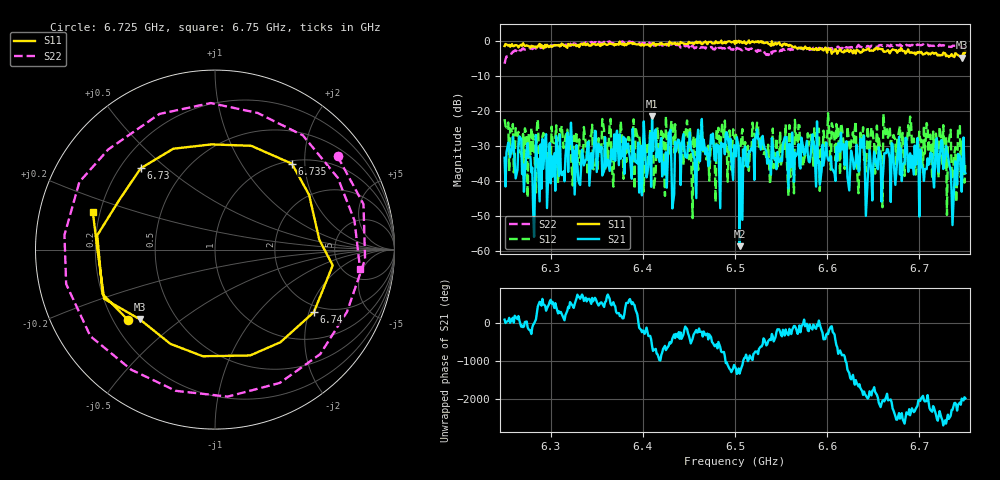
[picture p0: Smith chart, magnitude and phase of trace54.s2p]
# Hz S RI R 50
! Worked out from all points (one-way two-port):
!   401 points, 6.25 GHz to 6.75 GHz, reference 50 ohm
!   highest |S21| = -21.65 dB at 6.41 GHz (marker M1); lowest = -58.7 dB at 6.505 GHz (marker M2)
!   lowest |S11| = -4.9 dB at 6.746 GHz (marker M3), VSWR 3.67, Z = 15.5 - j17.9 ohm
!   |S11| at or under -10 dB: nowhere
!   |S22| runs from -6.6 to -0.1 dB; largest |S21 - S12| = 0.11
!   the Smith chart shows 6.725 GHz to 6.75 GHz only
!   S11 on the Smith chart (normalised r, x): 6.725 GHz: 0.26, -0.33; 6.73 GHz: 0.28, +0.41; 6.735 GHz: 1.06, +1.72; 6.74 GHz: 1.78, -2.16; 6.75 GHz: 0.17, +0.15
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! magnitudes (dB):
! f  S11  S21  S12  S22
! 6.25 GHz  -1.5  -33.5  -22.4  -6.6
! 6.269 GHz  -1.4  -38.1  -34.4  -2.4
! 6.278 GHz  -2.0  -33.1  -32.5  -2.1
! 6.28 GHz  -1.5  -36.2  -32.0  -2.4
! 6.32 GHz  -1.0  -27.5  -27.6  -0.9
! 6.334 GHz  -0.9  -31.1  -33.1  -0.7
! 6.41 GHz  -1.0  -21.7  -26.2  -0.7
! 6.418 GHz  -0.9  -34.6  -33.5  -1.2
! 6.5 GHz  -0.9  -32.1  -28.0  -1.9
! 6.505 GHz  -0.5  -58.7  -29.7  -2.3
! 6.525 GHz  -0.1  -28.0  -24.1  -2.6
! 6.538 GHz  -1.1  -35.0  -41.0  -3.8
! 6.584 GHz  -2.4  -26.7  -31.1  -2.5
! 6.646 GHz  -2.9  -31.1  -31.6  -2.0
! 6.658 GHz  -2.4  -33.4  -31.5  -1.2
! 6.668 GHz  -3.6  -33.7  -24.8  -1.7
! 6.725 GHz  -4.1  -29.0  -35.8  -1.3
! 6.73 GHz  -4.2  -31.9  -49.8  -1.7
! 6.735 GHz  -3.8  -42.9  -36.1  -1.8
! 6.74 GHz  -3.7  -34.7  -46.2  -1.5
! 6.746 GHz  -4.9  -43.1  -28.9  -1.9
! 6.75 GHz  -3.0  -37.9  -34.5  -1.8
